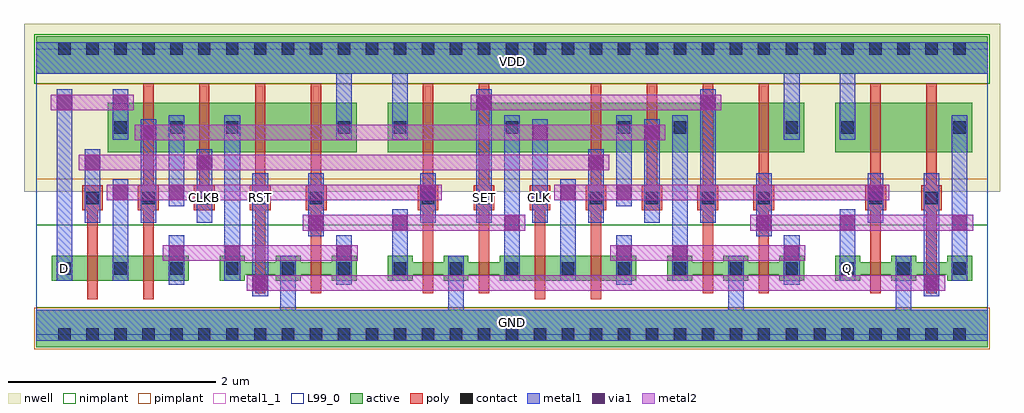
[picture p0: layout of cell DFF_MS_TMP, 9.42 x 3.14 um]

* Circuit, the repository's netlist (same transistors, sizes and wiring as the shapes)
.SUBCKT DFF_MS_TMP D CLK CLKB SET RST Q VDD GND
MMN1 n1 CLKB D GND nmos1v w=0.24u l=0.1u
MMP1 n1 CLK D VDD pmos1v w=0.48u l=0.1u
MI1_MN0 mb n1 GND GND nmos1v w=0.12u l=0.1u
MI1_MN1 mb SET GND GND nmos1v w=0.12u l=0.1u
MI1_MP0 I1_p1 n1 VDD VDD pmos1v w=0.48u l=0.1u
MI1_MP1 mb SET I1_p1 VDD pmos1v w=0.48u l=0.1u
MI2_MN0 n1f mb GND GND nmos1v w=0.12u l=0.1u
MI2_MN1 n1f RST GND GND nmos1v w=0.12u l=0.1u
MI2_MP0 I2_p1 mb VDD VDD pmos1v w=0.48u l=0.1u
MI2_MP1 n1f RST I2_p1 VDD pmos1v w=0.48u l=0.1u
MMN2 n1 CLK n1f GND nmos1v w=0.24u l=0.1u
MMP2 n1 CLKB n1f VDD pmos1v w=0.48u l=0.1u
MMN3 n2 CLK mb GND nmos1v w=0.24u l=0.1u
MMP3 n2 CLKB mb VDD pmos1v w=0.48u l=0.1u
MI3_MN0 Q n2 GND GND nmos1v w=0.12u l=0.1u
MI3_MN1 Q RST GND GND nmos1v w=0.12u l=0.1u
MI3_MP0 I3_p1 n2 VDD VDD pmos1v w=0.48u l=0.1u
MI3_MP1 Q RST I3_p1 VDD pmos1v w=0.48u l=0.1u
MI4_MN0 n2f Q GND GND nmos1v w=0.12u l=0.1u
MI4_MN1 n2f SET GND GND nmos1v w=0.12u l=0.1u
MI4_MP0 I4_p1 Q VDD VDD pmos1v w=0.48u l=0.1u
MI4_MP1 n2f SET I4_p1 VDD pmos1v w=0.48u l=0.1u
MMN4 n2 CLKB n2f GND nmos1v w=0.24u l=0.1u
MMP4 n2 CLK n2f VDD pmos1v w=0.48u l=0.1u
.ENDS

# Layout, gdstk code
import gdstk
lib = gdstk.Library(unit=1e-6, precision=5e-10)
def R(c, l, rs):  # rectangles x0, y0, x1, y1
    for r in rs: c.add(gdstk.rectangle(r[:2], r[2:], *l))
def A(c, l, x, y, w, h, nx, ny, dx, dy):  # array of equal rectangles
    R(c, l, [(x+i*dx, y+j*dy, x+i*dx+w, y+j*dy+h) for i in range(nx) for j in range(ny)])
active = (1, 0)
nwell = (2, 0)
poly = (3, 0)
nimplant = (4, 0)
pimplant = (5, 0)
contact = (6, 0)
metal1 = (7, 0)
metal1_1 = (7, 1)
via1 = (8, 0)
metal2 = (9, 0)
L99_0 = (99, 0)

dff_ms_tmp = lib.new_cell('DFF_MS_TMP')
A(dff_ms_tmp, active, 0.15, 0.52, 0.24, 0.24, 17, 1, 0.54, 0)
A(dff_ms_tmp, active, 0.69, 1.76, 0.24, 0.48, 16, 1, 0.54, 0)
A(dff_ms_tmp, active, 0.93, 1.76, 0.3, 0.48, 4, 1, 0.54, 0)
A(dff_ms_tmp, active, 3.63, 1.76, 0.3, 0.48, 7, 1, 0.54, 0)
R(dff_ms_tmp, active, [(0,-0.12,9.18,0.24), (0.39,0.52,0.69,0.76), (0.93,0.52,1.23,0.76), (4.71,0.52,5.01,0.76), (5.25,0.52,5.55,0.76), (2.01,0.58,2.31,0.7), (2.55,0.58,2.85,0.7), (3.63,0.58,3.93,0.7), (4.17,0.58,4.47,0.7), (6.33,0.58,6.63,0.7), (6.87,0.58,7.17,0.7), (7.95,0.58,8.25,0.7), (8.49,0.58,8.79,0.7), (7.95,1.76,8.25,2.24), (8.49,1.76,8.79,2.24), (0,2.52,9.18,2.88)])
R(dff_ms_tmp, nwell, [(-0.12,1.38,9.3,3)])
A(dff_ms_tmp, poly, 0.44, 1.2, 0.2, 0.24, 5, 1, 0.54, 0)
A(dff_ms_tmp, poly, 3.68, 1.2, 0.2, 0.24, 7, 1, 0.54, 0)
R(dff_ms_tmp, poly, [(0.49,0.34,0.59,1.44), (1.03,0.34,1.13,2.42), (4.81,0.34,4.91,1.44), (5.35,0.34,5.45,2.42), (2.11,0.4,2.21,2.42), (2.65,0.4,2.75,2.42), (3.73,0.4,3.83,2.42), (4.27,0.4,4.37,2.42), (6.43,0.4,6.53,2.42), (6.97,0.4,7.07,2.42), (8.05,0.4,8.15,2.42), (8.59,0.4,8.69,2.42), (1.57,1.2,1.67,2.42), (5.89,1.2,5.99,2.42), (8,1.2,8.2,1.44), (8.54,1.2,8.74,1.44)])
R(dff_ms_tmp, nimplant, [(0,0.26,9.18,1.06), (-0.02,2.42,9.2,2.9)])
R(dff_ms_tmp, pimplant, [(-0.02,-0.14,9.2,0.26), (0,1.5,9.18,2.42)])
A(dff_ms_tmp, contact, 0.21, -0.06, 0.12, 0.12, 33, 2, 0.27, 2.76)
A(dff_ms_tmp, contact, 0.21, 0.58, 0.12, 0.12, 17, 1, 0.54, 0)
A(dff_ms_tmp, contact, 0.48, 1.26, 0.12, 0.12, 5, 1, 0.54, 0)
A(dff_ms_tmp, contact, 3.72, 1.26, 0.12, 0.12, 7, 1, 0.54, 0)
A(dff_ms_tmp, contact, 0.75, 1.94, 0.12, 0.12, 3, 1, 0.54, 0)
A(dff_ms_tmp, contact, 3.45, 1.94, 0.12, 0.12, 3, 1, 1.08, 0)
R(dff_ms_tmp, contact, [(8.04,1.26,8.16,1.38), (8.58,1.26,8.7,1.38), (2.91,1.94,3.03,2.06), (6.15,1.94,6.27,2.06), (7.23,1.94,7.35,2.06), (7.77,1.94,7.89,2.06), (8.85,1.94,8.97,2.06)])
R(dff_ms_tmp, metal1, [(0,-0.06,9.18,0.24), (2.355,0,2.505,0.76), (3.975,0,4.125,0.76), (6.675,0,6.825,0.76), (8.295,0,8.445,0.76), (2.085,0.37,2.235,1.56), (8.565,0.37,8.715,1.56), (1.275,0.48,1.425,0.96), (2.895,0.48,3.045,0.96), (5.595,0.48,5.745,0.96), (7.215,0.48,7.365,0.96), (0.195,0.52,0.345,2.37), (0.735,0.52,0.885,1.5), (1.815,0.52,1.965,2.12), (3.435,0.52,3.585,1.21), (4.515,0.52,4.665,2.12), (5.055,0.52,5.205,1.5), (6.135,0.52,6.285,2.12), (7.755,0.52,7.905,1.21), (8.835,0.52,8.985,2.12), (2.625,0.95,2.775,1.56), (6.945,0.95,7.095,1.56), (0.465,1.08,0.615,1.79), (1.005,1.08,1.155,2.08), (1.545,1.08,1.695,1.79), (3.705,1.08,3.855,1.56), (4.245,1.08,4.395,2.37), (4.785,1.08,4.935,2.08), (5.325,1.08,5.475,1.79), (5.865,1.08,6.015,2.08), (6.405,1.08,6.555,2.37), (8.025,1.08,8.175,1.56), (1.275,1.24,1.425,2.12), (5.595,1.24,5.745,2.12), (0.735,1.88,0.885,2.37), (2.895,1.88,3.045,2.76), (3.435,1.88,3.585,2.76), (7.215,1.88,7.365,2.76), (7.755,1.88,7.905,2.76), (0,2.52,9.18,2.82)])
R(dff_ms_tmp, metal1_1, [(0,0,9.18,0.24), (0.195,0.52,0.345,0.76), (7.755,0.52,7.905,0.76), (1.545,1.2,1.695,1.44), (2.085,1.2,2.235,1.44), (4.245,1.2,4.395,1.44), (4.785,1.2,4.935,1.44), (0,2.52,9.18,2.76)])
R(dff_ms_tmp, via1, [(2.09,0.43,2.23,0.57), (8.57,0.43,8.71,0.57), (1.28,0.72,1.42,0.86), (1.82,0.72,1.96,0.86), (2.9,0.72,3.04,0.86), (5.6,0.72,5.74,0.86), (6.14,0.72,6.28,0.86), (7.22,0.72,7.36,0.86), (2.63,1.01,2.77,1.15), (3.44,1.01,3.58,1.15), (4.52,1.01,4.66,1.15), (6.95,1.01,7.09,1.15), (7.76,1.01,7.9,1.15), (8.84,1.01,8.98,1.15), (0.74,1.3,0.88,1.44), (1.28,1.3,1.42,1.44), (3.71,1.3,3.85,1.44), (5.06,1.3,5.2,1.44), (5.6,1.3,5.74,1.44), (8.03,1.3,8.17,1.44), (0.47,1.59,0.61,1.73), (1.55,1.59,1.69,1.73), (5.33,1.59,5.47,1.73), (1.01,1.88,1.15,2.02), (4.79,1.88,4.93,2.02), (5.87,1.88,6.01,2.02), (0.2,2.17,0.34,2.31), (0.74,2.17,0.88,2.31), (4.25,2.17,4.39,2.31), (6.41,2.17,6.55,2.31)])
R(dff_ms_tmp, metal2, [(2.03,0.425,8.77,0.575), (1.22,0.715,3.1,0.865), (5.54,0.715,7.42,0.865), (2.57,1.005,4.72,1.155), (6.89,1.005,9.04,1.155), (0.68,1.295,3.91,1.445), (5,1.295,8.23,1.445), (0.41,1.585,5.53,1.735), (0.95,1.875,6.07,2.025), (0.14,2.165,0.94,2.315), (4.19,2.165,6.61,2.315)])
R(dff_ms_tmp, L99_0, [(0,0,9.18,2.76)])
dff_ms_tmp.add(gdstk.Label('GND', (4.59,0.12), layer=7, texttype=3))
dff_ms_tmp.add(gdstk.Label('VDD', (4.59,2.64), layer=7, texttype=3))
dff_ms_tmp.add(gdstk.Label('D', (0.27,0.64), layer=7, texttype=3))
dff_ms_tmp.add(gdstk.Label('CLKB', (1.62,1.32), layer=7, texttype=3))
dff_ms_tmp.add(gdstk.Label('CLK', (4.86,1.32), layer=7, texttype=3))
dff_ms_tmp.add(gdstk.Label('RST', (2.16,1.32), layer=7, texttype=3))
dff_ms_tmp.add(gdstk.Label('SET', (4.32,1.32), layer=7, texttype=3))
dff_ms_tmp.add(gdstk.Label('Q', (7.83,0.64), layer=7, texttype=3))

lib.write_gds('DFF_MS_TMP.gds')
